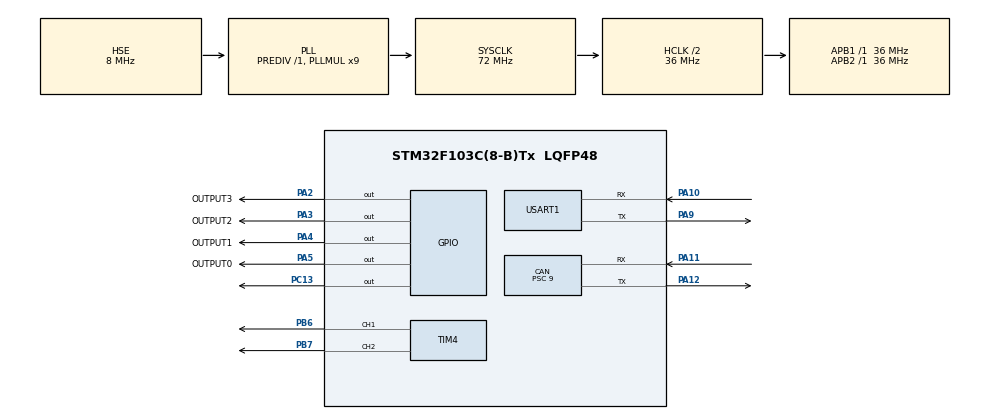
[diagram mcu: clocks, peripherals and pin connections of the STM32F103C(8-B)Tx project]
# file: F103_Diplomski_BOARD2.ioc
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Mcu.Family=STM32F1
RCC.PLLSourceVirtual=RCC_PLLSOURCE_HSE
TIM4.Channel-PWM\ Generation1\ CH1=TIM_CHANNEL_1
PD1-OSC_OUT.Mode=HSE-External-Oscillator
PA10.Mode=Asynchronous
PC13-TAMPER-RTC.Signal=GPIO_Output
PA11.Mode=Master
PD0-OSC_IN.Signal=RCC_OSC_IN
VP_SYS_VS_ND.Mode=No_Debug
CAN.CalculateTimeBit=4000
RCC.SYSCLKSource=RCC_SYSCLKSOURCE_PLLCLK
ProjectManager.StackSize=0x400
PD1-OSC_OUT.Signal=RCC_OSC_OUT
PA9.Mode=Asynchronous
PA12.Signal=CAN_TX
CAN.BS2=CAN_BS2_2TQ
CAN.Prescaler=9
CAN.BS1=CAN_BS1_13TQ
ProjectManager.TargetToolchain=Makefile
RCC.HCLKFreq_Value=36000000
RCC.APB2TimFreq_Value=36000000
PA9.Signal=USART1_TX
PB6.Signal=S_TIM4_CH1
RCC.USBFreq_Value=72000000
RCC.AHBFreq_Value=36000000
PD0-OSC_IN.Mode=HSE-External-Oscillator
PA5.Signal=GPIO_Output
board=custom
RCC.PLLMUL=RCC_PLL_MUL9
TIM4.Channel-PWM\ Generation2\ CH2=TIM_CHANNEL_2
RCC.APB2Freq_Value=36000000
NVIC.USB_LP_CAN1_RX0_IRQn=true\:0\:0\:false\:false\:true\:true\:true
SH.S_TIM4_CH2.0=TIM4_CH2,PWM Generation2 CH2
PB7.Signal=S_TIM4_CH2
RCC.AHBCLKDivider=RCC_SYSCLK_DIV2
Mcu.Name=STM32F103C(8-B)Tx
CAN.CalculateTimeQuantum=250.0
PA2.Signal=GPIO_Output
PA4.Signal=GPIO_Output
RCC.SYSCLKFreq_VALUE=72000000
Mcu.Package=LQFP48
PA12.Mode=Master
PA5.GPIO_Label=OUTPUT0
USART1.VirtualMode=VM_ASYNC
PA2.GPIO_Label=OUTPUT3
PA11.Signal=CAN_RX
PA10.Signal=USART1_RX
ProjectManager.HeapSize=0x200
NVIC.PriorityGroup=NVIC_PRIORITYGROUP_4
SH.S_TIM4_CH1.0=TIM4_CH1,PWM Generation1 CH1
RCC.APB1TimFreq_Value=36000000
RCC.APB1Freq_Value=36000000
PA4.GPIO_Label=OUTPUT1
PA3.GPIO_Label=OUTPUT2
PA3.Signal=GPIO_Output

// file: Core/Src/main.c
/* USER CODE BEGIN Header */
/**
  ******************************************************************************
  * @file           : main.c
  * @brief          : Main program body
  ******************************************************************************
  * @attention
  *
  * <h2><center>&copy; Copyright (c) 2020 STMicroelectronics.
  * All rights reserved.</center></h2>
  *
  * This software component is licensed by ST under BSD 3-Clause license,
  * the "License"; You may not use this file except in compliance with the
  * License. You may obtain a copy of the License at:
  *                        opensource.org/licenses/BSD-3-Clause
  *
  ******************************************************************************
  */
/* USER CODE END Header */
#include "main.h"

/* USER CODE BEGIN Includes */
#include <stdio.h>
#include <string.h>
#include <stdarg.h>
/* USER CODE END Includes */

/* USER CODE BEGIN PD */
#define MAIN_BOARD (0x125U)
#define BOARD2 (0x123U)
/* USER CODE END PD */

CAN_HandleTypeDef hcan;

TIM_HandleTypeDef htim4;

UART_HandleTypeDef huart1;

/* USER CODE BEGIN PV */
uint8_t msgReceivedFlag = 0;
CAN_RxHeaderTypeDef CAN_rx_header;

uint8_t CAN_received_data[8] = {0};

CAN_TxHeaderTypeDef CAN_tx_header = {
        .StdId = BOARD2,
        .IDE = CAN_ID_STD,
        .RTR = CAN_RTR_DATA,
        .DLC = 1,
};

uint32_t CAN_tx_mailbox;

CAN_FilterTypeDef filterConfig = {
        .FilterIdHigh = 0x000 <<5,
        .FilterIdLow = 0x0000,
        .FilterMaskIdHigh = 0x0000, //0xFFE0
        .FilterMaskIdLow = 0x0000,
        .FilterFIFOAssignment = 0,
        .FilterBank = 0,
        .FilterMode = CAN_FILTERMODE_IDMASK,
        .FilterScale = CAN_FILTERSCALE_32BIT,
        .FilterActivation = ENABLE,
        .SlaveStartFilterBank = 0,
};
/* USER CODE END PV */

void SystemClock_Config(void);
static void MX_GPIO_Init(void);
static void MX_CAN_Init(void);
static void MX_USART1_UART_Init(void);
static void MX_TIM4_Init(void);
/* USER CODE BEGIN PFP */
void HAL_CAN_RxFifo0MsgPendingCallback(CAN_HandleTypeDef *canHandle);
int BM_HAL_UART_printf(const char *fmt, ...);
/* USER CODE END PFP */

/* USER CODE BEGIN 0 */
void HAL_CAN_RxFifo0MsgPendingCallback(CAN_HandleTypeDef *canHandle)
{
    HAL_GPIO_TogglePin(GPIOC, GPIO_PIN_13);
    if(HAL_CAN_GetRxMessage(canHandle, CAN_RX_FIFO0, &CAN_rx_header, CAN_received_data) != HAL_OK)
    {
        Error_Handler();
    }
    msgReceivedFlag = 1;
}
/* USER CODE END 0 */

int main(void)
{
  /* USER CODE BEGIN 1 */
    uint8_t ledState = 0;
    uint16_t adcVal1 = 0;
    uint16_t adcVal2 = 0;
  /* USER CODE END 1 */

  /* MCU Configuration--------------------------------------------------------*/

  /* Reset of all peripherals, Initializes the Flash interface and the Systick. */
  HAL_Init();

  /* Configure the system clock */
  SystemClock_Config();

  /* Initialize all configured peripherals */
  MX_GPIO_Init();
  MX_CAN_Init();
  MX_USART1_UART_Init();
  MX_TIM4_Init();
  /* USER CODE BEGIN 2 */
  HAL_CAN_ConfigFilter(&hcan, &filterConfig);

  HAL_CAN_ActivateNotification(&hcan, CAN_IT_RX_FIFO0_MSG_PENDING);
  HAL_CAN_Start(&hcan);

  HAL_TIM_PWM_Start(&htim4, TIM_CHANNEL_1);
  HAL_TIM_PWM_Start(&htim4, TIM_CHANNEL_2);

  HAL_GPIO_WritePin(GPIOC, GPIO_PIN_13, GPIO_PIN_SET);
  /* USER CODE END 2 */

  /* Infinite loop */
  while (1)
  {

    /* USER CODE BEGIN 3 */
      if(msgReceivedFlag)
      {
          ledState = CAN_received_data[0];
          adcVal1 = CAN_received_data[1] | ((CAN_received_data[2] << 8) & 0b111100000000);
          adcVal2 = CAN_received_data[3] | ((CAN_received_data[4] << 8) & 0b111100000000);
          if(ledState & 0b0001)
          {
              HAL_GPIO_WritePin(OUTPUT0_GPIO_Port, OUTPUT0_Pin, GPIO_PIN_SET);
          }
          else
          {
              HAL_GPIO_WritePin(OUTPUT0_GPIO_Port, OUTPUT0_Pin, GPIO_PIN_RESET);
          }
          if(ledState & 0b0010)
          {
              HAL_GPIO_WritePin(OUTPUT1_GPIO_Port, OUTPUT1_Pin, GPIO_PIN_SET);
          }
          else
          {
              HAL_GPIO_WritePin(OUTPUT1_GPIO_Port, OUTPUT1_Pin, GPIO_PIN_RESET);
          }
          if(ledState & 0b0100)
          {
              HAL_GPIO_WritePin(OUTPUT2_GPIO_Port, OUTPUT2_Pin, GPIO_PIN_SET);
          }
          else
          {
              HAL_GPIO_WritePin(OUTPUT2_GPIO_Port, OUTPUT2_Pin, GPIO_PIN_RESET);
          }
          if(ledState & 0b1000)
          {
              HAL_GPIO_WritePin(OUTPUT3_GPIO_Port, OUTPUT3_Pin, GPIO_PIN_SET);
          }
          else
          {
              HAL_GPIO_WritePin(OUTPUT3_GPIO_Port, OUTPUT3_Pin, GPIO_PIN_RESET);
          }
          htim4.Instance->CCR1 = 16*adcVal1;
          htim4.Instance->CCR2 = 16*adcVal2;
          BM_HAL_UART_printf("CAN MSG RECEIVED: 0x%x : 0x%x 0x%x 0x%x 0x%x 0x%x\r\n", CAN_rx_header.StdId, CAN_received_data[0],
                  CAN_received_data[1], CAN_received_data[2], CAN_received_data[3], CAN_received_data[4]);
          BM_HAL_UART_printf("LED: %d ADC0: %d ADC1: %d\r\n\n",ledState, adcVal1, adcVal2);
          msgReceivedFlag = 0;
      }
  }
  /* USER CODE END 3 */
}

void SystemClock_Config(void)
{
  RCC_OscInitTypeDef RCC_OscInitStruct = {0};
  RCC_ClkInitTypeDef RCC_ClkInitStruct = {0};

  /** Initializes the RCC Oscillators according to the specified parameters
  * in the RCC_OscInitTypeDef structure.
  */
  RCC_OscInitStruct.OscillatorType = RCC_OSCILLATORTYPE_HSE;
  RCC_OscInitStruct.HSEState = RCC_HSE_ON;
  RCC_OscInitStruct.HSEPredivValue = RCC_HSE_PREDIV_DIV1;
  RCC_OscInitStruct.HSIState = RCC_HSI_ON;
  RCC_OscInitStruct.PLL.PLLState = RCC_PLL_ON;
  RCC_OscInitStruct.PLL.PLLSource = RCC_PLLSOURCE_HSE;
  RCC_OscInitStruct.PLL.PLLMUL = RCC_PLL_MUL9;
  if (HAL_RCC_OscConfig(&RCC_OscInitStruct) != HAL_OK)
  {
    Error_Handler();
  }
  /** Initializes the CPU, AHB and APB buses clocks
  */
  RCC_ClkInitStruct.ClockType = RCC_CLOCKTYPE_HCLK|RCC_CLOCKTYPE_SYSCLK
                              |RCC_CLOCKTYPE_PCLK1|RCC_CLOCKTYPE_PCLK2;
  RCC_ClkInitStruct.SYSCLKSource = RCC_SYSCLKSOURCE_PLLCLK;
  RCC_ClkInitStruct.AHBCLKDivider = RCC_SYSCLK_DIV2;
  RCC_ClkInitStruct.APB1CLKDivider = RCC_HCLK_DIV1;
  RCC_ClkInitStruct.APB2CLKDivider = RCC_HCLK_DIV1;

  if (HAL_RCC_ClockConfig(&RCC_ClkInitStruct, FLASH_LATENCY_2) != HAL_OK)
  {
    Error_Handler();
  }
}

static void MX_CAN_Init(void)
{

  hcan.Instance = CAN1;
  hcan.Init.Prescaler = 9;
  hcan.Init.Mode = CAN_MODE_NORMAL;
  hcan.Init.SyncJumpWidth = CAN_SJW_1TQ;
  hcan.Init.TimeSeg1 = CAN_BS1_13TQ;
  hcan.Init.TimeSeg2 = CAN_BS2_2TQ;
  hcan.Init.TimeTriggeredMode = DISABLE;
  hcan.Init.AutoBusOff = DISABLE;
  hcan.Init.AutoWakeUp = DISABLE;
  hcan.Init.AutoRetransmission = DISABLE;
  hcan.Init.ReceiveFifoLocked = DISABLE;
  hcan.Init.TransmitFifoPriority = DISABLE;
  if (HAL_CAN_Init(&hcan) != HAL_OK)
  {
    Error_Handler();
  }

}

static void MX_TIM4_Init(void)
{

  TIM_MasterConfigTypeDef sMasterConfig = {0};
  TIM_OC_InitTypeDef sConfigOC = {0};

  htim4.Instance = TIM4;
  htim4.Init.Prescaler = 0;
  htim4.Init.CounterMode = TIM_COUNTERMODE_UP;
  htim4.Init.Period = 65535;
  htim4.Init.ClockDivision = TIM_CLOCKDIVISION_DIV1;
  htim4.Init.AutoReloadPreload = TIM_AUTORELOAD_PRELOAD_DISABLE;
  if (HAL_TIM_PWM_Init(&htim4) != HAL_OK)
  {
    Error_Handler();
  }
  sMasterConfig.MasterOutputTrigger = TIM_TRGO_RESET;
  sMasterConfig.MasterSlaveMode = TIM_MASTERSLAVEMODE_DISABLE;
  if (HAL_TIMEx_MasterConfigSynchronization(&htim4, &sMasterConfig) != HAL_OK)
  {
    Error_Handler();
  }
  sConfigOC.OCMode = TIM_OCMODE_PWM1;
  sConfigOC.Pulse = 0;
  sConfigOC.OCPolarity = TIM_OCPOLARITY_HIGH;
  sConfigOC.OCFastMode = TIM_OCFAST_DISABLE;
  if (HAL_TIM_PWM_ConfigChannel(&htim4, &sConfigOC, TIM_CHANNEL_1) != HAL_OK)
  {
    Error_Handler();
  }
  if (HAL_TIM_PWM_ConfigChannel(&htim4, &sConfigOC, TIM_CHANNEL_2) != HAL_OK)
  {
    Error_Handler();
  }
  HAL_TIM_MspPostInit(&htim4);

}

static void MX_USART1_UART_Init(void)
{

  huart1.Instance = USART1;
  huart1.Init.BaudRate = 115200;
  huart1.Init.WordLength = UART_WORDLENGTH_8B;
  huart1.Init.StopBits = UART_STOPBITS_1;
  huart1.Init.Parity = UART_PARITY_NONE;
  huart1.Init.Mode = UART_MODE_TX_RX;
  huart1.Init.HwFlowCtl = UART_HWCONTROL_NONE;
  huart1.Init.OverSampling = UART_OVERSAMPLING_16;
  if (HAL_UART_Init(&huart1) != HAL_OK)
  {
    Error_Handler();
  }

}

static void MX_GPIO_Init(void)
{
  GPIO_InitTypeDef GPIO_InitStruct = {0};

  /* GPIO Ports Clock Enable */
  __HAL_RCC_GPIOC_CLK_ENABLE();
  __HAL_RCC_GPIOD_CLK_ENABLE();
  __HAL_RCC_GPIOA_CLK_ENABLE();
  __HAL_RCC_GPIOB_CLK_ENABLE();

  /*Configure GPIO pin Output Level */
  HAL_GPIO_WritePin(GPIOC, GPIO_PIN_13, GPIO_PIN_RESET);

  /*Configure GPIO pin Output Level */
  HAL_GPIO_WritePin(GPIOA, OUTPUT3_Pin|OUTPUT2_Pin|OUTPUT1_Pin|OUTPUT0_Pin, GPIO_PIN_RESET);

  /*Configure GPIO pin : PC13 */
  GPIO_InitStruct.Pin = GPIO_PIN_13;
  GPIO_InitStruct.Mode = GPIO_MODE_OUTPUT_PP;
  GPIO_InitStruct.Pull = GPIO_NOPULL;
  GPIO_InitStruct.Speed = GPIO_SPEED_FREQ_LOW;
  HAL_GPIO_Init(GPIOC, &GPIO_InitStruct);

  /*Configure GPIO pins : OUTPUT3_Pin OUTPUT2_Pin OUTPUT1_Pin OUTPUT0_Pin */
  GPIO_InitStruct.Pin = OUTPUT3_Pin|OUTPUT2_Pin|OUTPUT1_Pin|OUTPUT0_Pin;
  GPIO_InitStruct.Mode = GPIO_MODE_OUTPUT_PP;
  GPIO_InitStruct.Pull = GPIO_NOPULL;
  GPIO_InitStruct.Speed = GPIO_SPEED_FREQ_LOW;
  HAL_GPIO_Init(GPIOA, &GPIO_InitStruct);

}

/* USER CODE BEGIN 4 */
int BM_HAL_UART_printf(const char *fmt, ...)
{
    char buf[256];
    va_list args;
    int n = 0;

    va_start(args, fmt);
    vsprintf(buf, fmt, args);
    va_end(args);
    HAL_UART_Transmit(&huart1, (uint8_t*) buf, strlen(buf), 0xFFFF);
    return n;
}
/* USER CODE END 4 */

void Error_Handler(void)
{
}

/************************ (C) COPYRIGHT STMicroelectronics *****END OF FILE****/
